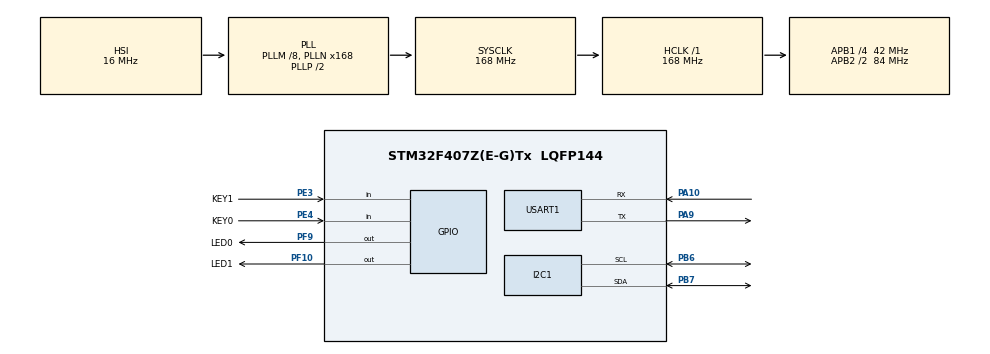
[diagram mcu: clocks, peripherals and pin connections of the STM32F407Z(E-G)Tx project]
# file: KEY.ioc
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I2C1.I2C_Mode=I2C_Fast
Mcu.Family=STM32F4
Mcu.Name=STM32F407Z(E-G)Tx
Mcu.Package=LQFP144
NVIC.PriorityGroup=NVIC_PRIORITYGROUP_4
NVIC.TIM3_IRQn=true\:0\:0\:false\:false\:true\:true\:true\:true
PA10.Mode=Asynchronous
PA10.Signal=USART1_RX
PA13.Mode=Serial_Wire
PA13.Signal=SYS_JTMS-SWDIO
PA14.Mode=Serial_Wire
PA14.Signal=SYS_JTCK-SWCLK
PA9.Mode=Asynchronous
PA9.Signal=USART1_TX
PB6.Mode=I2C
PB6.Signal=I2C1_SCL
PB7.Mode=I2C
PB7.Signal=I2C1_SDA
PE3.GPIO_Label=KEY1
PE3.GPIO_PuPd=GPIO_PULLUP
PE3.Signal=GPIO_Input
PE4.GPIO_Label=KEY0
PE4.GPIO_PuPd=GPIO_PULLUP
PE4.Signal=GPIO_Input
PF10.GPIO_Label=LED1
PF10.PinState=GPIO_PIN_SET
PF10.Signal=GPIO_Output
PF9.GPIO_Label=LED0
PF9.PinState=GPIO_PIN_SET
PF9.Signal=GPIO_Output
PH0-OSC_IN.Mode=HSE-External-Oscillator
PH0-OSC_IN.Signal=RCC_OSC_IN
PH1-OSC_OUT.Mode=HSE-External-Oscillator
PH1-OSC_OUT.Signal=RCC_OSC_OUT
ProjectManager.HeapSize=0x200
ProjectManager.StackSize=0x400
ProjectManager.TargetToolchain=CMake
RCC.48MHZClocksFreq_Value=84000000
RCC.AHBFreq_Value=168000000
RCC.APB1CLKDivider=RCC_HCLK_DIV4
RCC.APB1Freq_Value=42000000
RCC.APB1TimFreq_Value=84000000
RCC.APB2CLKDivider=RCC_HCLK_DIV2
RCC.APB2Freq_Value=84000000
RCC.APB2TimFreq_Value=168000000
RCC.CortexFreq_Value=168000000
RCC.HCLKFreq_Value=168000000
RCC.HSE_VALUE=25000000
RCC.HSI_VALUE=16000000
RCC.LSE_VALUE=32768
RCC.PLLM=8
RCC.PLLN=168
RCC.SYSCLKFreq_VALUE=168000000
RCC.SYSCLKSource=RCC_SYSCLKSOURCE_PLLCLK
RCC.VCOOutputFreq_Value=336000000
TIM3.Period=1000-1
TIM3.Prescaler=84-1
USART1.VirtualMode=VM_ASYNC
VP_TIM3_VS_ClockSourceINT.Mode=Internal
board=custom

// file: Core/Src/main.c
/* USER CODE BEGIN Header */
/**
  ******************************************************************************
  * @file           : main.c
  * @brief          : Main program body
  ******************************************************************************
  * @attention
  *
  * Copyright (c) 2026 STMicroelectronics.
  * All rights reserved.
  *
  * This software is licensed under terms that can be found in the LICENSE file
  * in the root directory of this software component.
  * If no LICENSE file comes with this software, it is provided AS-IS.
  *
  ******************************************************************************
  */
/* USER CODE END Header */
#include "main.h"
#include "i2c.h"
#include "tim.h"
#include "usart.h"
#include "gpio.h"

/* USER CODE BEGIN Includes */
#include "key.h"
#include "stdio.h"
#include "oled_ssd1306.h"
#include "string.h"
#include <stdint.h>
#include <stdio.h>
#include <string.h>
#include <sys/types.h>
/* USER CODE END Includes */

void SystemClock_Config(void);

/* USER CODE BEGIN 0 */
void HAL_TIM_PeriodElapsedCallback(TIM_HandleTypeDef *htim){
    if (htim == &htim3) {
      key_tick();
    }
}

/* USER CODE END 0 */

int main(void)
{

  /* MCU Configuration--------------------------------------------------------*/

  /* Reset of all peripherals, Initializes the Flash interface and the Systick. */
  HAL_Init();

  /* Configure the system clock */
  SystemClock_Config();

  /* Initialize all configured peripherals */
  MX_GPIO_Init();
  MX_USART1_UART_Init();
  MX_TIM3_Init();
  MX_I2C1_Init();
  /* USER CODE BEGIN 2 */
//OLED初始化==========================
  OLED_Init();
  OLED_NewFrame();
//KEY初始化==========================
  HAL_TIM_Base_Start_IT(&htim3);
  uint16_t Key1_Number,Key0_Number;

  /* USER CODE END 2 */

  /* Infinite loop */
  /* USER CODE BEGIN WHILE */
  while (1)
  {
    OLED_NewFrame();

    // // 测试1 HOLD
    // if (Key_CheckFlag(0,KEY_HOLD)) {
    //   Key0_Number = 1;
    // }else {
    //   Key0_Number = 0;
    // }
    // if (Key_CheckFlag(1,KEY_HOLD)) {
    //   Key1_Number = 1;
    // }else {
    //   Key1_Number = 0;
    // }

    // // 测试2 DOWN&UP
    // if (Key_CheckFlag(0,KEY_DOWN)) {
    //   Key0_Number ++;
    // }else if (Key_CheckFlag(0,KEY_UP)) {
    //   Key1_Number ++;
    // }
    // if (Key_CheckFlag(1,KEY_DOWN)) {
    //   Key0_Number ++;
    // }else if (Key_CheckFlag(1,KEY_UP)) {
    //   Key1_Number ++;
    // }

    // // 测试3 SINGLE&DOUBLE&LONG
    // if (Key_CheckFlag(0,KEY_SINGLE)) {
    //   Key0_Number ++;
    // }else if (Key_CheckFlag(0,KEY_DOUBLE)) {
    //   Key0_Number += 100;
    // }else if (Key_CheckFlag(0,KEY_LONG)) {
    //   Key0_Number = 0;
    // }
    // if (Key_CheckFlag(1,KEY_SINGLE)) {
    //   Key1_Number ++;
    // }else if (Key_CheckFlag(1,KEY_DOUBLE)) {
    //   Key1_Number += 100;
    // }else if (Key_CheckFlag(1,KEY_LONG)) {
    //   Key1_Number = 0;
    // }

    // // 测试4
    // if (Key_CheckFlag(0,KEY_SINGLE) || Key_CheckFlag(0,KEY_REPEAT)) {
    //   Key0_Number ++;
    // }
    // if (Key_CheckFlag(1,KEY_SINGLE) || Key_CheckFlag(1,KEY_REPEAT)) {
    //   Key0_Number --;
    // }

    OLED_PrintString(0, 0, "TEST: multi key", 8);
    OLED_PrintString(0, 15, "Key0:", 8);
    OLED_ShowNum(56, 15, Key0_Number, 5, 8);
    OLED_PrintString(0, 31, "Key1:", 8);
    OLED_ShowNum(56, 31, Key1_Number, 5, 8);

    OLED_ShowFrame();

    /* USER CODE END WHILE */

  }
}

void SystemClock_Config(void)
{
  RCC_OscInitTypeDef RCC_OscInitStruct = {0};
  RCC_ClkInitTypeDef RCC_ClkInitStruct = {0};

  /** Configure the main internal regulator output voltage
  */
  __HAL_RCC_PWR_CLK_ENABLE();
  __HAL_PWR_VOLTAGESCALING_CONFIG(PWR_REGULATOR_VOLTAGE_SCALE1);

  /** Initializes the RCC Oscillators according to the specified parameters
  * in the RCC_OscInitTypeDef structure.
  */
  RCC_OscInitStruct.OscillatorType = RCC_OSCILLATORTYPE_HSI;
  RCC_OscInitStruct.HSIState = RCC_HSI_ON;
  RCC_OscInitStruct.HSICalibrationValue = RCC_HSICALIBRATION_DEFAULT;
  RCC_OscInitStruct.PLL.PLLState = RCC_PLL_ON;
  RCC_OscInitStruct.PLL.PLLSource = RCC_PLLSOURCE_HSI;
  RCC_OscInitStruct.PLL.PLLM = 8;
  RCC_OscInitStruct.PLL.PLLN = 168;
  RCC_OscInitStruct.PLL.PLLP = RCC_PLLP_DIV2;
  RCC_OscInitStruct.PLL.PLLQ = 4;
  if (HAL_RCC_OscConfig(&RCC_OscInitStruct) != HAL_OK)
  {
    Error_Handler();
  }

  /** Initializes the CPU, AHB and APB buses clocks
  */
  RCC_ClkInitStruct.ClockType = RCC_CLOCKTYPE_HCLK|RCC_CLOCKTYPE_SYSCLK
                              |RCC_CLOCKTYPE_PCLK1|RCC_CLOCKTYPE_PCLK2;
  RCC_ClkInitStruct.SYSCLKSource = RCC_SYSCLKSOURCE_PLLCLK;
  RCC_ClkInitStruct.AHBCLKDivider = RCC_SYSCLK_DIV1;
  RCC_ClkInitStruct.APB1CLKDivider = RCC_HCLK_DIV4;
  RCC_ClkInitStruct.APB2CLKDivider = RCC_HCLK_DIV2;

  if (HAL_RCC_ClockConfig(&RCC_ClkInitStruct, FLASH_LATENCY_5) != HAL_OK)
  {
    Error_Handler();
  }
}

void Error_Handler(void)
{
  __disable_irq();
  while (1)
  {
  }
}
